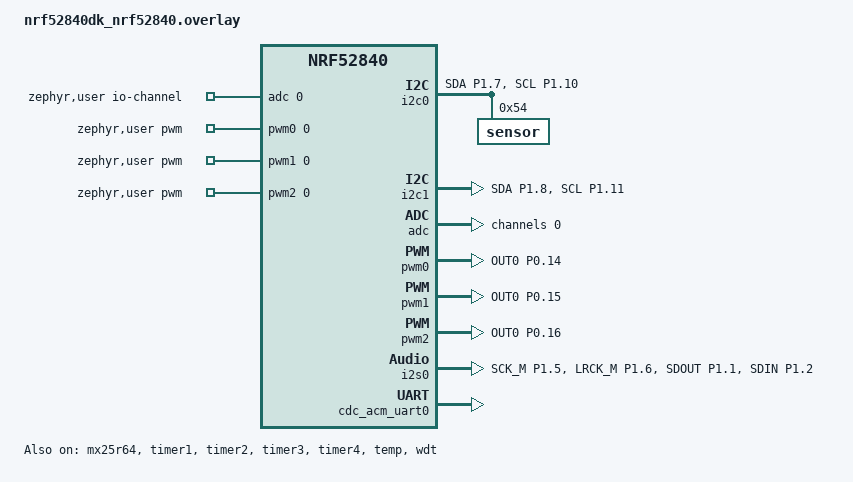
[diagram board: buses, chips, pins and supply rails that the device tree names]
/*
 * Copyright (c) 2026 Nordic Semiconductor ASA
 *
 * SPDX-License-Identifier: LicenseRef-Nordic-5-Clause
 */

/ {
	aliases {
		dut-flash = &mx25r64;
		test-gpio = &led0;
		watchdog0 = &wdt;
		/delete-property/ pwm_led1;
	};

	zephyr,user {
		io-channels = <&adc 0>;
		pwms = <&pwm0 0 PWM_MSEC(10) PWM_POLARITY_NORMAL>,
		       <&pwm1 0 PWM_MSEC(10) PWM_POLARITY_NORMAL>,
		       <&pwm2 0 PWM_MSEC(10) PWM_POLARITY_NORMAL>;
	};
};

&pinctrl {
	i2c0_default_alt: i2c0_default_alt {
		group1 {
			psels = <NRF_PSEL(TWIM_SDA, 1, 7)>,
				<NRF_PSEL(TWIM_SCL, 1, 10)>;
		};
	};

	i2c0_sleep_alt: i2c0_sleep_alt {
		group1 {
			psels = <NRF_PSEL(TWIM_SDA, 1, 7)>,
				<NRF_PSEL(TWIM_SCL, 1, 10)>;
			low-power-enable;
		};
	};

	i2c1_default_alt: i2c1_default_alt {
		group1 {
			psels = <NRF_PSEL(TWIS_SDA, 1, 8)>,
				<NRF_PSEL(TWIS_SCL, 1, 11)>;
			bias-pull-up;
		};
	};

	i2c1_sleep_alt: i2c1_sleep_alt {
		group1 {
			psels = <NRF_PSEL(TWIS_SDA, 1, 8)>,
				<NRF_PSEL(TWIS_SCL, 1, 11)>;
			low-power-enable;
		};
	};

	pwm0_default_alt: pwm0_default_alt {
		group1 {
			psels = <NRF_PSEL(PWM_OUT0, 0, 14)>;
		};
	};

	pwm0_sleep_alt: pwm0_sleep_alt {
		group1 {
			psels = <NRF_PSEL(PWM_OUT0, 0, 14)>;
			low-power-enable;
		};
	};

	pwm1_default_alt: pwm1_default_alt {
		group1 {
			psels = <NRF_PSEL(PWM_OUT0, 0, 15)>;
		};
	};

	pwm1_sleep_alt: pwm1_sleep_alt {
		group1 {
			psels = <NRF_PSEL(PWM_OUT0, 0, 15)>;
			low-power-enable;
		};
	};

	pwm2_default_alt: pwm2_default_alt {
		group1 {
			psels = <NRF_PSEL(PWM_OUT0, 0, 16)>;
		};
	};

	pwm2_sleep_alt: pwm2_sleep_alt {
		group1 {
			psels = <NRF_PSEL(PWM_OUT0, 0, 16)>;
			low-power-enable;
		};
	};

	i2s0_default_alt: i2s0_default_alt {
		group1 {
			psels = <NRF_PSEL(I2S_SCK_M, 1, 5)>,
				<NRF_PSEL(I2S_LRCK_M, 1, 6)>,
				<NRF_PSEL(I2S_SDOUT, 1, 1)>,
				<NRF_PSEL(I2S_SDIN, 1, 2)>;
		};
	};
};

dut_twim: &i2c0 {
	compatible = "nordic,nrf-twim";
	status = "okay";
	pinctrl-0 = <&i2c0_default_alt>;
	pinctrl-1 = <&i2c0_sleep_alt>;
	pinctrl-names = "default", "sleep";

	sensor: sensor@54 {
		reg = <0x54>;
	};
};

dut_twis: &i2c1 {
	compatible = "nordic,nrf-twis";
	status = "okay";
	pinctrl-0 = <&i2c1_default_alt>;
	pinctrl-1 = <&i2c1_sleep_alt>;
	pinctrl-names = "default", "sleep";
};

&mx25r64 {
	status = "okay";
};

&adc {
	#address-cells = <1>;
	#size-cells = <0>;

	channel@0 {
		reg = <0>;
		zephyr,gain = "ADC_GAIN_1";
		zephyr,reference = "ADC_REF_INTERNAL";
		zephyr,acquisition-time = <ADC_ACQ_TIME(ADC_ACQ_TIME_MICROSECONDS, 10)>;
		zephyr,input-positive = <NRF_SAADC_AIN1>; /* P0.03 */
		zephyr,resolution = <10>;
	};
};

&timer1 {
	status = "okay";
};

&timer2 {
	status = "okay";
};

&timer3 {
	status = "okay";
};

&timer4 {
	status = "okay";
};

&pwm0 {
	status = "okay";
	pinctrl-0 = <&pwm0_default_alt>;
	pinctrl-1 = <&pwm0_sleep_alt>;
	pinctrl-names = "default", "sleep";
};

&pwm1 {
	status = "okay";
	pinctrl-0 = <&pwm1_default_alt>;
	pinctrl-1 = <&pwm1_sleep_alt>;
	pinctrl-names = "default", "sleep";
};

&pwm2 {
	status = "okay";
	pinctrl-0 = <&pwm2_default_alt>;
	pinctrl-1 = <&pwm2_sleep_alt>;
	pinctrl-names = "default", "sleep";
};

temp_sensor: &temp {
	status = "okay";
};

&gpio0 {
	status = "okay";
};

dut_i2s: &i2s0 {
	status = "okay";
	pinctrl-0 = <&i2s0_default_alt>;
	pinctrl-names = "default";
};

&wdt {
	status = "okay";
};

&zephyr_udc0 {
	cdc_acm_uart0 {
		compatible = "zephyr,cdc-acm-uart";
	};
};
